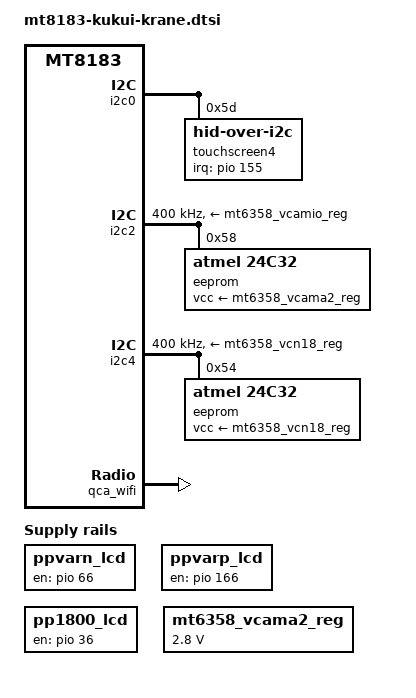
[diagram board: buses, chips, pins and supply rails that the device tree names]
// SPDX-License-Identifier: (GPL-2.0 OR MIT)
/*
 * Copyright 2019 Google LLC
 */

#include "mt8183-kukui.dtsi"
#include "mt8183-kukui-audio-max98357a.dtsi"

/ {
	ppvarn_lcd: ppvarn-lcd {
		compatible = "regulator-fixed";
		regulator-name = "ppvarn_lcd";
		pinctrl-names = "default";
		pinctrl-0 = <&ppvarn_lcd_en>;

		enable-active-high;

		gpio = <&pio 66 GPIO_ACTIVE_HIGH>;
	};

	ppvarp_lcd: ppvarp-lcd {
		compatible = "regulator-fixed";
		regulator-name = "ppvarp_lcd";
		pinctrl-names = "default";
		pinctrl-0 = <&ppvarp_lcd_en>;

		enable-active-high;

		gpio = <&pio 166 GPIO_ACTIVE_HIGH>;
	};

	pp1800_lcd: pp1800-lcd {
		compatible = "regulator-fixed";
		regulator-name = "pp1800_lcd";
		pinctrl-names = "default";
		pinctrl-0 = <&pp1800_lcd_en>;

		enable-active-high;

		gpio = <&pio 36 GPIO_ACTIVE_HIGH>;
	};
};

&bluetooth {
	firmware-name = "nvm_00440302_i2s_eu.bin";
};

&i2c0 {
	status = "okay";

	touchscreen4: touchscreen@5d {
		compatible = "hid-over-i2c";
		reg = <0x5d>;
		pinctrl-names = "default";
		pinctrl-0 = <&open_touch>;

		interrupt-parent = <&pio>;
		interrupts = <155 IRQ_TYPE_EDGE_FALLING>;

		post-power-on-delay-ms = <10>;
		hid-descr-addr = <0x0001>;
	};
};

&mt6358_vcama2_reg {
	regulator-min-microvolt = <2800000>;
	regulator-max-microvolt = <2800000>;
};

&i2c2 {
	pinctrl-names = "default";
	pinctrl-0 = <&i2c2_pins>;
	status = "okay";
	clock-frequency = <400000>;
	vbus-supply = <&mt6358_vcamio_reg>;

	eeprom@58 {
		compatible = "atmel,24c32";
		reg = <0x58>;
		pagesize = <32>;
		vcc-supply = <&mt6358_vcama2_reg>;
	};
};

&i2c4 {
	pinctrl-names = "default";
	pinctrl-0 = <&i2c4_pins>;
	status = "okay";
	clock-frequency = <400000>;
	vbus-supply = <&mt6358_vcn18_reg>;

	eeprom@54 {
		compatible = "atmel,24c32";
		reg = <0x54>;
		pagesize = <32>;
		vcc-supply = <&mt6358_vcn18_reg>;
	};
};

&pio {
	/* 192 lines */
	gpio-line-names =
		"SPI_AP_EC_CS_L",
		"SPI_AP_EC_MOSI",
		"SPI_AP_EC_CLK",
		"I2S3_DO",
		"USB_PD_INT_ODL",
		"",
		"",
		"",
		"",
		"IT6505_HPD_L",
		"I2S3_TDM_D3",
		"SOC_I2C6_1V8_SCL",
		"SOC_I2C6_1V8_SDA",
		"DPI_D0",
		"DPI_D1",
		"DPI_D2",
		"DPI_D3",
		"DPI_D4",
		"DPI_D5",
		"DPI_D6",
		"DPI_D7",
		"DPI_D8",
		"DPI_D9",
		"DPI_D10",
		"DPI_D11",
		"DPI_HSYNC",
		"DPI_VSYNC",
		"DPI_DE",
		"DPI_CK",
		"AP_MSDC1_CLK",
		"AP_MSDC1_DAT3",
		"AP_MSDC1_CMD",
		"AP_MSDC1_DAT0",
		"AP_MSDC1_DAT2",
		"AP_MSDC1_DAT1",
		"",
		"",
		"",
		"",
		"",
		"",
		"OTG_EN",
		"DRVBUS",
		"DISP_PWM",
		"DSI_TE",
		"LCM_RST_1V8",
		"AP_CTS_WIFI_RTS",
		"AP_RTS_WIFI_CTS",
		"SOC_I2C5_1V8_SCL",
		"SOC_I2C5_1V8_SDA",
		"SOC_I2C3_1V8_SCL",
		"SOC_I2C3_1V8_SDA",
		"",
		"",
		"",
		"",
		"",
		"",
		"",
		"",
		"",
		"",
		"",
		"",
		"",
		"",
		"",
		"",
		"",
		"",
		"",
		"",
		"",
		"",
		"",
		"",
		"",
		"",
		"",
		"",
		"",
		"SOC_I2C1_1V8_SDA",
		"SOC_I2C0_1V8_SDA",
		"SOC_I2C0_1V8_SCL",
		"SOC_I2C1_1V8_SCL",
		"AP_SPI_H1_MISO",
		"AP_SPI_H1_CS_L",
		"AP_SPI_H1_MOSI",
		"AP_SPI_H1_CLK",
		"I2S5_BCK",
		"I2S5_LRCK",
		"I2S5_DO",
		"BOOTBLOCK_EN_L",
		"MT8183_KPCOL0",
		"SPI_AP_EC_MISO",
		"UART_DBG_TX_AP_RX",
		"UART_AP_TX_DBG_RX",
		"I2S2_MCK",
		"I2S2_BCK",
		"CLK_5M_WCAM",
		"CLK_2M_UCAM",
		"I2S2_LRCK",
		"I2S2_DI",
		"SOC_I2C2_1V8_SCL",
		"SOC_I2C2_1V8_SDA",
		"SOC_I2C4_1V8_SCL",
		"SOC_I2C4_1V8_SDA",
		"",
		"SCL8",
		"SDA8",
		"FCAM_PWDN_L",
		"",
		"",
		"",
		"",
		"",
		"",
		"",
		"",
		"",
		"",
		"",
		"",
		"",
		"",
		"",
		"",
		"",
		"",
		"",
		"",
		"",
		"",
		"",
		"",
		"",
		"I2S_PMIC",
		"I2S_PMIC",
		"I2S_PMIC",
		"I2S_PMIC",
		"I2S_PMIC",
		"I2S_PMIC",
		"I2S_PMIC",
		"I2S_PMIC",
		"",
		"",
		"",
		"",
		"",
		"",
		/*
		 * AP_FLASH_WP_L is crossystem ABI. Rev1 schematics
		 * call it BIOS_FLASH_WP_R_L.
		 */
		"AP_FLASH_WP_L",
		"EC_AP_INT_ODL",
		"IT6505_INT_ODL",
		"H1_INT_OD_L",
		"",
		"",
		"",
		"",
		"",
		"",
		"",
		"AP_SPI_FLASH_MISO",
		"AP_SPI_FLASH_CS_L",
		"AP_SPI_FLASH_MOSI",
		"AP_SPI_FLASH_CLK",
		"DA7219_IRQ",
		"",
		"",
		"",
		"",
		"",
		"",
		"",
		"",
		"",
		"",
		"",
		"",
		"",
		"",
		"",
		"",
		"",
		"",
		"",
		"",
		"",
		"",
		"",
		"",
		"",
		"";

	ppvarp_lcd_en: ppvarp-lcd-en {
		pins1 {
			pinmux = <PINMUX_GPIO66__FUNC_GPIO66>;
			output-low;
		};
	};

	ppvarn_lcd_en: ppvarn-lcd-en {
		pins1 {
			pinmux = <PINMUX_GPIO166__FUNC_GPIO166>;
			output-low;
		};
	};

	pp1800_lcd_en: pp1800-lcd-en {
		pins1 {
			pinmux = <PINMUX_GPIO36__FUNC_GPIO36>;
			output-low;
		};
	};

	open_touch: open_touch {
		irq_pin {
			pinmux = <PINMUX_GPIO155__FUNC_GPIO155>;
			input-enable;
			bias-pull-up;
		};

		rst_pin {
			pinmux = <PINMUX_GPIO156__FUNC_GPIO156>;

			/*
			 * The pen driver doesn't currently support  driving
			 * this reset line.  By specifying output-high here
			 * we're relying on the fact that this pin has a default
			 * pulldown at boot (which makes sure the pen was in
			 * reset if it was powered) and then we set it high here
			 * to take it out of reset.  Better would be if the pen
			 * driver could control this and we could remove
			 * "output-high" here.
			 */
			output-high;
		};
	};
};

&cros_ec {
	cbas {
		compatible = "google,cros-cbas";
	};

	keyboard-controller {
		compatible = "google,cros-ec-keyb-switches";
	};
};

&qca_wifi {
	qcom,ath10k-calibration-variant = "LE_Krane";
};

&sound {
	compatible = "mediatek,mt8183_mt6358_ts3a227_max98357";
};
